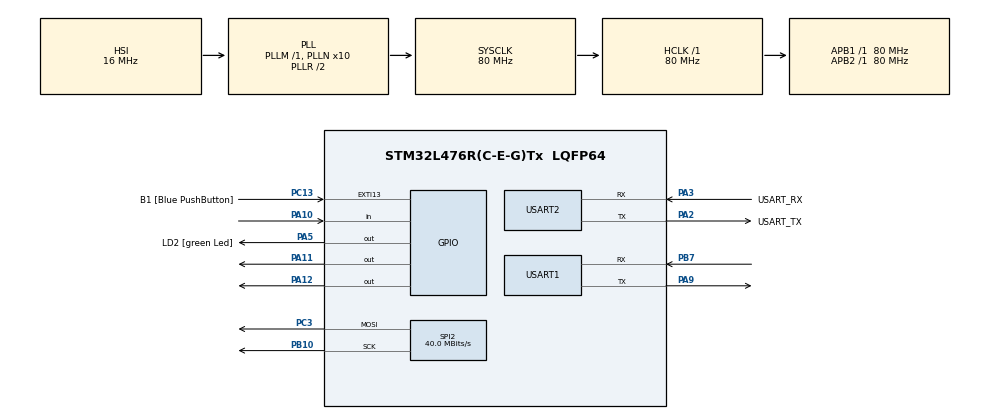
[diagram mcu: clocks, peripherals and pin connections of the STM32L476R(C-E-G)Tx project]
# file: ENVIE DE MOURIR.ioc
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Mcu.Family=STM32L4
Mcu.Name=STM32L476R(C-E-G)Tx
Mcu.Package=LQFP64
NVIC.PriorityGroup=NVIC_PRIORITYGROUP_4
PA10.Signal=GPIO_Input
PA11.Signal=GPIO_Output
PA12.Signal=GPIO_Output
PA13\ (JTMS-SWDIO).GPIO_Label=TMS
PA13\ (JTMS-SWDIO).Mode=Serial_Wire
PA13\ (JTMS-SWDIO).Signal=SYS_JTMS-SWDIO
PA14\ (JTCK-SWCLK).GPIO_Label=TCK
PA14\ (JTCK-SWCLK).Mode=Serial_Wire
PA14\ (JTCK-SWCLK).Signal=SYS_JTCK-SWCLK
PA2.GPIO_Label=USART_TX
PA2.GPIO_Mode=GPIO_MODE_AF_PP
PA2.GPIO_PuPd=GPIO_NOPULL
PA2.GPIO_Speed=GPIO_SPEED_FREQ_VERY_HIGH
PA2.Mode=Asynchronous
PA2.Signal=USART2_TX
PA3.GPIO_Label=USART_RX
PA3.GPIO_Mode=GPIO_MODE_AF_PP
PA3.GPIO_PuPd=GPIO_NOPULL
PA3.GPIO_Speed=GPIO_SPEED_FREQ_VERY_HIGH
PA3.Mode=Asynchronous
PA3.Signal=USART2_RX
PA5.GPIO_Label=LD2 [green Led]
PA5.GPIO_ModeDefaultOutputPP=GPIO_MODE_OUTPUT_PP
PA5.GPIO_PuPd=GPIO_NOPULL
PA5.GPIO_Speed=GPIO_SPEED_FREQ_LOW
PA5.Signal=GPIO_Output
PA9.Mode=Asynchronous
PA9.Signal=USART1_TX
PB10.Mode=TX_Only_Simplex_Unidirect_Master
PB10.Signal=SPI2_SCK
PB3\ (JTDO-TRACESWO).GPIO_Label=SWO
PB3\ (JTDO-TRACESWO).Signal=SYS_JTDO-SWO
PB7.Mode=Asynchronous
PB7.Signal=USART1_RX
PC13.GPIO_Label=B1 [Blue PushButton]
PC13.GPIO_ModeDefaultEXTI=GPIO_MODE_IT_FALLING
PC13.GPIO_PuPd=GPIO_NOPULL
PC13.Signal=GPXTI13
PC14-OSC32_IN\ (PC14).Mode=LSE-External-Oscillator
PC14-OSC32_IN\ (PC14).Signal=RCC_OSC32_IN
PC15-OSC32_OUT\ (PC15).Mode=LSE-External-Oscillator
PC15-OSC32_OUT\ (PC15).Signal=RCC_OSC32_OUT
PC3.Mode=TX_Only_Simplex_Unidirect_Master
PC3.Signal=SPI2_MOSI
PH0-OSC_IN\ (PH0).Signal=RCC_OSC_IN
PH1-OSC_OUT\ (PH1).Signal=RCC_OSC_OUT
ProjectManager.HeapSize=0x200
ProjectManager.StackSize=0x400
ProjectManager.TargetToolchain=STM32CubeIDE
RCC.ADCFreq_Value=64000000
RCC.AHBFreq_Value=80000000
RCC.APB1Freq_Value=80000000
RCC.APB1TimFreq_Value=80000000
RCC.APB2Freq_Value=80000000
RCC.APB2TimFreq_Value=80000000
RCC.CortexFreq_Value=80000000
RCC.HCLKFreq_Value=80000000
RCC.HSE_VALUE=8000000
RCC.HSI_VALUE=16000000
RCC.MSI_VALUE=4000000
RCC.PLLN=10
RCC.PLLSourceVirtual=RCC_PLLSOURCE_HSI
RCC.PREFETCH_ENABLE=1
RCC.SYSCLKFreq_VALUE=80000000
RCC.SYSCLKSource=RCC_SYSCLKSOURCE_PLLCLK
RCC.USBFreq_Value=64000000
RCC.VCOOutputFreq_Value=160000000
SPI2.CalculateBaudRate=40.0 MBits/s
SPI2.Direction=SPI_DIRECTION_2LINES
SPI2.Mode=SPI_MODE_MASTER
SPI2.VirtualType=VM_MASTER
USART1.VirtualMode-Asynchronous=VM_ASYNC
USART2.VirtualMode-Asynchronous=VM_ASYNC
board=NUCLEO-L476RG

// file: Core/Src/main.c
/* USER CODE BEGIN Header */
/**
  ******************************************************************************
  * @file           : main.c
  * @brief          : Main program body
  ******************************************************************************
  * @attention
  *
  * Copyright (c) 2025 STMicroelectronics.
  * All rights reserved.
  *
  * This software is licensed under terms that can be found in the LICENSE file
  * in the root directory of this software component.
  * If no LICENSE file comes with this software, it is provided AS-IS.
  *
  ******************************************************************************
  */
/* USER CODE END Header */
#include "main.h"

/* USER CODE BEGIN Includes */
#include <stdio.h>

#include "stdio.h"
/* USER CODE END Includes */

/* USER CODE BEGIN PM */
char zz[10];
/* USER CODE END PM */

SPI_HandleTypeDef hspi2;

UART_HandleTypeDef huart1;
UART_HandleTypeDef huart2;

void SystemClock_Config(void);
static void MX_GPIO_Init(void);
static void MX_USART2_UART_Init(void);
static void MX_SPI2_Init(void);
static void MX_USART1_UART_Init(void);

int main(void)
{

  /* MCU Configuration--------------------------------------------------------*/

  /* Reset of all peripherals, Initializes the Flash interface and the Systick. */
  HAL_Init();

  /* Configure the system clock */
  SystemClock_Config();

  /* Initialize all configured peripherals */
  MX_GPIO_Init();
  MX_USART2_UART_Init();
  MX_SPI2_Init();
  MX_USART1_UART_Init();

  /* Infinite loop */
  /* USER CODE BEGIN WHILE */
  while (1)
  {
	  int boubou = HAL_GPIO_ReadPin(GPIOA, GPIO_PIN_10);
	  if(boubou == 0){
		  HAL_GPIO_WritePin(GPIOA, GPIO_PIN_5, 1);
		  HAL_Delay(500);
		  HAL_GPIO_WritePin(GPIOA, GPIO_PIN_5, 0);
		  HAL_Delay(500);
	  }

	  /*HAL_GPIO_WritePin(GPIOA, GPIO_PIN_5, 1);
	  HAL_Delay(500);
	  HAL_GPIO_WritePin(GPIOA, GPIO_PIN_5, 0);
	  HAL_Delay(500);*/
/*
	  int test = HAL_GPIO_ReadPin(GPIOC, GPIO_PIN_13);
	  if(test != 1){
		 HAL_GPIO_WritePin(GPIOA, GPIO_PIN_5, 1);
		 printf("Hello World ! \n\r");
	  }
	  else{
		  HAL_GPIO_WritePin(GPIOA, GPIO_PIN_5, 0);
	  }
	  HAL_Delay(500);
*/

    /* USER CODE END WHILE */

  }
}

void SystemClock_Config(void)
{
  RCC_OscInitTypeDef RCC_OscInitStruct = {0};
  RCC_ClkInitTypeDef RCC_ClkInitStruct = {0};

  /** Configure the main internal regulator output voltage
  */
  if (HAL_PWREx_ControlVoltageScaling(PWR_REGULATOR_VOLTAGE_SCALE1) != HAL_OK)
  {
    Error_Handler();
  }

  /** Initializes the RCC Oscillators according to the specified parameters
  * in the RCC_OscInitTypeDef structure.
  */
  RCC_OscInitStruct.OscillatorType = RCC_OSCILLATORTYPE_HSI;
  RCC_OscInitStruct.HSIState = RCC_HSI_ON;
  RCC_OscInitStruct.HSICalibrationValue = RCC_HSICALIBRATION_DEFAULT;
  RCC_OscInitStruct.PLL.PLLState = RCC_PLL_ON;
  RCC_OscInitStruct.PLL.PLLSource = RCC_PLLSOURCE_HSI;
  RCC_OscInitStruct.PLL.PLLM = 1;
  RCC_OscInitStruct.PLL.PLLN = 10;
  RCC_OscInitStruct.PLL.PLLP = RCC_PLLP_DIV7;
  RCC_OscInitStruct.PLL.PLLQ = RCC_PLLQ_DIV2;
  RCC_OscInitStruct.PLL.PLLR = RCC_PLLR_DIV2;
  if (HAL_RCC_OscConfig(&RCC_OscInitStruct) != HAL_OK)
  {
    Error_Handler();
  }

  /** Initializes the CPU, AHB and APB buses clocks
  */
  RCC_ClkInitStruct.ClockType = RCC_CLOCKTYPE_HCLK|RCC_CLOCKTYPE_SYSCLK
                              |RCC_CLOCKTYPE_PCLK1|RCC_CLOCKTYPE_PCLK2;
  RCC_ClkInitStruct.SYSCLKSource = RCC_SYSCLKSOURCE_PLLCLK;
  RCC_ClkInitStruct.AHBCLKDivider = RCC_SYSCLK_DIV1;
  RCC_ClkInitStruct.APB1CLKDivider = RCC_HCLK_DIV1;
  RCC_ClkInitStruct.APB2CLKDivider = RCC_HCLK_DIV1;

  if (HAL_RCC_ClockConfig(&RCC_ClkInitStruct, FLASH_LATENCY_4) != HAL_OK)
  {
    Error_Handler();
  }
}

static void MX_SPI2_Init(void)
{

  /* SPI2 parameter configuration*/
  hspi2.Instance = SPI2;
  hspi2.Init.Mode = SPI_MODE_MASTER;
  hspi2.Init.Direction = SPI_DIRECTION_2LINES;
  hspi2.Init.DataSize = SPI_DATASIZE_4BIT;
  hspi2.Init.CLKPolarity = SPI_POLARITY_LOW;
  hspi2.Init.CLKPhase = SPI_PHASE_1EDGE;
  hspi2.Init.NSS = SPI_NSS_SOFT;
  hspi2.Init.BaudRatePrescaler = SPI_BAUDRATEPRESCALER_2;
  hspi2.Init.FirstBit = SPI_FIRSTBIT_MSB;
  hspi2.Init.TIMode = SPI_TIMODE_DISABLE;
  hspi2.Init.CRCCalculation = SPI_CRCCALCULATION_DISABLE;
  hspi2.Init.CRCPolynomial = 7;
  hspi2.Init.CRCLength = SPI_CRC_LENGTH_DATASIZE;
  hspi2.Init.NSSPMode = SPI_NSS_PULSE_ENABLE;
  if (HAL_SPI_Init(&hspi2) != HAL_OK)
  {
    Error_Handler();
  }

}

static void MX_USART1_UART_Init(void)
{

  huart1.Instance = USART1;
  huart1.Init.BaudRate = 115200;
  huart1.Init.WordLength = UART_WORDLENGTH_8B;
  huart1.Init.StopBits = UART_STOPBITS_1;
  huart1.Init.Parity = UART_PARITY_NONE;
  huart1.Init.Mode = UART_MODE_TX_RX;
  huart1.Init.HwFlowCtl = UART_HWCONTROL_NONE;
  huart1.Init.OverSampling = UART_OVERSAMPLING_16;
  huart1.Init.OneBitSampling = UART_ONE_BIT_SAMPLE_DISABLE;
  huart1.AdvancedInit.AdvFeatureInit = UART_ADVFEATURE_NO_INIT;
  if (HAL_UART_Init(&huart1) != HAL_OK)
  {
    Error_Handler();
  }

}

static void MX_USART2_UART_Init(void)
{

  huart2.Instance = USART2;
  huart2.Init.BaudRate = 115200;
  huart2.Init.WordLength = UART_WORDLENGTH_8B;
  huart2.Init.StopBits = UART_STOPBITS_1;
  huart2.Init.Parity = UART_PARITY_NONE;
  huart2.Init.Mode = UART_MODE_TX_RX;
  huart2.Init.HwFlowCtl = UART_HWCONTROL_NONE;
  huart2.Init.OverSampling = UART_OVERSAMPLING_16;
  huart2.Init.OneBitSampling = UART_ONE_BIT_SAMPLE_DISABLE;
  huart2.AdvancedInit.AdvFeatureInit = UART_ADVFEATURE_NO_INIT;
  if (HAL_UART_Init(&huart2) != HAL_OK)
  {
    Error_Handler();
  }

}

static void MX_GPIO_Init(void)
{
  GPIO_InitTypeDef GPIO_InitStruct = {0};

  /* GPIO Ports Clock Enable */
  __HAL_RCC_GPIOC_CLK_ENABLE();
  __HAL_RCC_GPIOH_CLK_ENABLE();
  __HAL_RCC_GPIOA_CLK_ENABLE();
  __HAL_RCC_GPIOB_CLK_ENABLE();

  /*Configure GPIO pin Output Level */
  HAL_GPIO_WritePin(GPIOA, LD2_Pin|GPIO_PIN_11|GPIO_PIN_12, GPIO_PIN_RESET);

  /*Configure GPIO pin : B1_Pin */
  GPIO_InitStruct.Pin = B1_Pin;
  GPIO_InitStruct.Mode = GPIO_MODE_IT_FALLING;
  GPIO_InitStruct.Pull = GPIO_NOPULL;
  HAL_GPIO_Init(B1_GPIO_Port, &GPIO_InitStruct);

  /*Configure GPIO pins : LD2_Pin PA11 PA12 */
  GPIO_InitStruct.Pin = LD2_Pin|GPIO_PIN_11|GPIO_PIN_12;
  GPIO_InitStruct.Mode = GPIO_MODE_OUTPUT_PP;
  GPIO_InitStruct.Pull = GPIO_NOPULL;
  GPIO_InitStruct.Speed = GPIO_SPEED_FREQ_LOW;
  HAL_GPIO_Init(GPIOA, &GPIO_InitStruct);

  /*Configure GPIO pin : PA10 */
  GPIO_InitStruct.Pin = GPIO_PIN_10;
  GPIO_InitStruct.Mode = GPIO_MODE_INPUT;
  GPIO_InitStruct.Pull = GPIO_NOPULL;
  HAL_GPIO_Init(GPIOA, &GPIO_InitStruct);

}

/* USER CODE BEGIN 4 */
int _write(int file, char *ptr, int len)
{
  (void)file;
  int DataIdx;

  for (DataIdx = 0; DataIdx < len; DataIdx++)
  {
    ITM_SendChar(*ptr++);
  }
  return len;
}
/* USER CODE END 4 */

void Error_Handler(void)
{
  __disable_irq();
  while (1)
  {
  }
}
